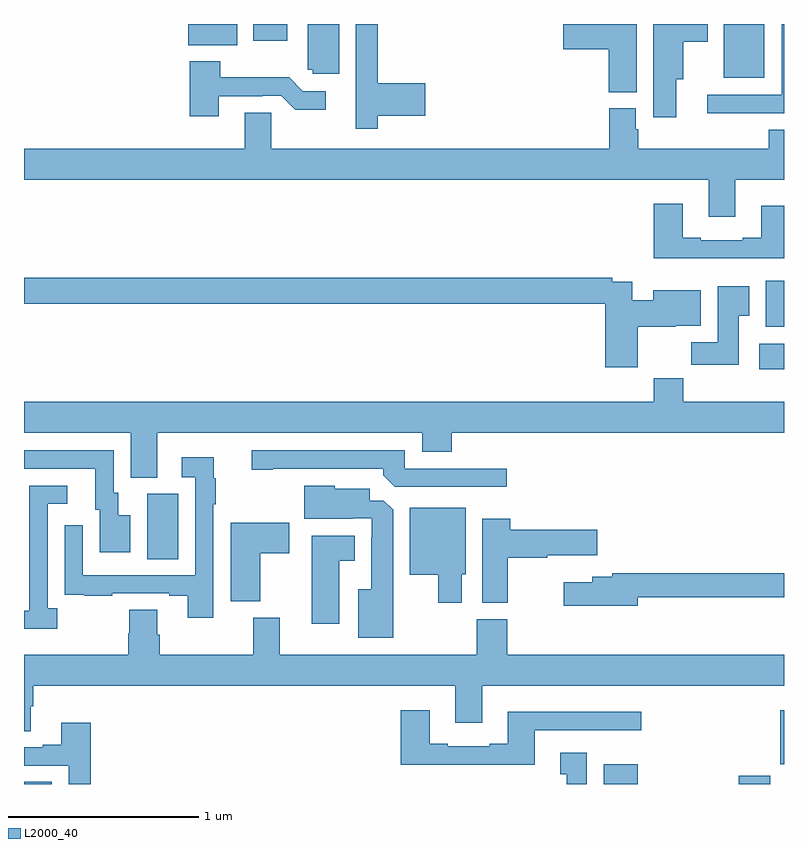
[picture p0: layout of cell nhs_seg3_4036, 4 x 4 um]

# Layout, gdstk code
import gdstk
lib = gdstk.Library(unit=1e-6, precision=1e-09)
def R(c, l, rs):  # rectangles x0, y0, x1, y1
    for r in rs: c.add(gdstk.rectangle(r[:2], r[2:], *l))
def P(c, l, *ps):  # polygons
    for p in ps: c.add(gdstk.Polygon(p, *l))
L2000_40 = (2000, 40)

nhs_seg3_4036 = lib.new_cell('nhs_seg3_4036')
R(nhs_seg3_4036, L2000_40, [(323,700.4,323.146,700.412), (326.051,700.4,326.23,700.504), (326.762,700.4,326.927,700.444), (326.981,700.503,327,700.789), (323.648,701.584,323.812,701.928), (326.871,702.584,327,702.718), (326.903,702.806,327,703.048), (326.684,704.117,326.896,704.4), (324.207,704.312,324.385,704.4)])
P(nhs_seg3_4036, L2000_40, [(327,704.4),(326.987,704.4),(326.987,704.028),(326.595,704.028),(326.595,703.931),(327,703.931)],
  [(326.434,704.108),(326.47,704.108),(326.47,704.306),(326.599,704.306),(326.599,704.4),(326.312,704.4),(326.312,703.908),(326.434,703.908)],
  [(326.224,704.4),(325.838,704.4),(325.838,704.267),(326.078,704.267),(326.078,704.041),(326.224,704.041)],
  [(324.658,704.4),(324.494,704.4),(324.494,704.16),(324.519,704.16),(324.519,704.139),(324.658,704.139)],
  [(324.122,704.4),(323.852,704.4),(323.852,704.399),(323.864,704.399),(323.864,704.288),(324.122,704.288)],
  [(324.863,703.916),(325.111,703.916),(325.111,704.087),(324.863,704.087),(324.863,704.4),(324.747,704.4),(324.747,704.07),(324.746,704.07),(324.746,703.848),(324.863,703.848)],
  [(324.025,704.019),(324.254,704.019),(324.254,704.022),(324.354,704.022),(324.427,703.949),(324.589,703.949),(324.589,704.046),(324.468,704.046),(324.395,704.119),(324.033,704.119),(324.033,704.203),(323.873,704.203),(323.873,703.914),(324.025,703.914)],
  [(326.743,703.58),(327,703.58),(327,703.843),(326.921,703.843),(326.921,703.744),(326.234,703.744),(326.234,703.845),(326.221,703.845),(326.221,703.956),(326.081,703.956),(326.081,703.744),(324.3,703.744),(324.3,703.934),(324.161,703.934),(324.161,703.744),(323,703.744),(323,703.58),(326.603,703.58),(326.603,703.386),(326.743,703.386)],
  [(327,703.444),(326.879,703.444),(326.879,703.276),(326.783,703.276),(326.783,703.263),(326.563,703.263),(326.563,703.276),(326.467,703.276),(326.467,703.453),(326.315,703.453),(326.315,703.166),(327,703.166)],
  [(326.23,702.806),(326.43,702.806),(326.43,702.812),(326.563,702.812),(326.563,703),(326.312,703),(326.312,702.946),(326.2,702.946),(326.2,703.044),(326.096,703.044),(326.096,703.064),(323,703.064),(323,702.928),(326.06,702.928),(326.06,702.594),(326.23,702.594)],
  [(326.761,702.865),(326.818,702.865),(326.818,703.021),(326.651,703.021),(326.651,702.724),(326.512,702.724),(326.512,702.606),(326.761,702.606)],
  [(323.701,702.248),(325.097,702.248),(325.097,702.149),(325.25,702.149),(325.25,702.248),(327,702.248),(327,702.412),(326.471,702.412),(326.471,702.536),(326.315,702.536),(326.315,702.412),(323,702.412),(323,702.248),(323.561,702.248),(323.561,702.013),(323.701,702.013)],
  [(323.56,701.815),(323.497,701.815),(323.497,701.934),(323.472,701.934),(323.472,702.156),(323,702.156),(323,702.06),(323.375,702.06),(323.375,701.844),(323.399,701.844),(323.399,701.619),(323.56,701.619)],
  [(325.54,702.06),(325.005,702.06),(325.005,702.156),(324.198,702.156),(324.198,702.055),(324.31,702.055),(324.31,702.06),(324.89,702.06),(324.89,702.026),(324.951,701.964),(325.54,701.964)],
  [(323.997,701.872),(324.01,701.872),(324.01,702.008),(323.999,702.008),(323.999,702.121),(323.829,702.121),(323.829,702.015),(323.901,702.015),(323.901,701.499),(323.31,701.499),(323.31,701.761),(323.214,701.761),(323.214,701.506),(323.215,701.506),(323.215,701.397),(323.317,701.397),(323.317,701.391),(323.465,701.391),(323.465,701.403),(323.765,701.403),(323.765,701.391),(323.861,701.391),(323.861,701.274),(323.997,701.274)],
  [(324.943,701.843),(324.894,701.892),(324.82,701.892),(324.82,701.953),(324.636,701.953),(324.636,701.971),(324.476,701.971),(324.476,701.795),(324.731,701.795),(324.731,701.799),(324.831,701.799),(324.831,701.699),(324.827,701.699),(324.827,701.425),(324.758,701.425),(324.758,701.171),(324.943,701.171)],
  [(323.176,701.326),(323.124,701.326),(323.124,701.874),(323.227,701.874),(323.227,701.97),(323.028,701.97),(323.028,701.513),(323.027,701.513),(323.027,701.313),(323,701.313),(323,701.216),(323.176,701.216)],
  [(325.303,701.505),(325.324,701.505),(325.324,701.854),(325.031,701.854),(325.031,701.501),(325.181,701.501),(325.181,701.355),(325.303,701.355)],
  [(325.546,701.591),(325.754,701.591),(325.754,701.603),(326.017,701.603),(326.017,701.738),(325.559,701.738),(325.559,701.797),(325.412,701.797),(325.412,701.353),(325.546,701.353)],
  [(324.244,701.614),(324.397,701.614),(324.397,701.776),(324.089,701.776),(324.089,701.363),(324.244,701.363)],
  [(324.658,701.576),(324.742,701.576),(324.742,701.707),(324.515,701.707),(324.515,701.244),(324.658,701.244)],
  [(326.23,701.382),(327,701.382),(327,701.51),(326.095,701.51),(326.095,701.491),(325.991,701.491),(325.991,701.461),(325.842,701.461),(325.842,701.339),(326.23,701.339)],
  [(323.035,700.81),(323.048,700.81),(323.048,700.916),(325.271,700.916),(325.271,700.722),(325.411,700.722),(325.411,700.916),(327,700.916),(327,701.08),(325.544,701.08),(325.544,701.268),(325.384,701.268),(325.384,701.08),(324.346,701.08),(324.346,701.275),(324.206,701.275),(324.206,701.08),(323.714,701.08),(323.714,701.186),(323.701,701.186),(323.701,701.318),(323.554,701.318),(323.554,701.193),(323.549,701.193),(323.549,701.08),(323,701.08),(323,700.678),(323.035,700.678)],
  [(325.687,700.683),(326.248,700.683),(326.248,700.78),(325.547,700.78),(325.547,700.612),(325.451,700.612),(325.451,700.599),(325.231,700.599),(325.231,700.612),(325.135,700.612),(325.135,700.789),(324.983,700.789),(324.983,700.502),(325.687,700.502)],
  [(323.351,700.723),(323.195,700.723),(323.195,700.606),(323.099,700.606),(323.099,700.593),(323,700.593),(323,700.497),(323.235,700.497),(323.235,700.4),(323.351,700.4)],
  [(325.963,700.564),(325.823,700.564),(325.823,700.451),(325.856,700.451),(325.856,700.4),(325.963,700.4)])

lib.write_gds('nhs_seg3_4036.gds')
